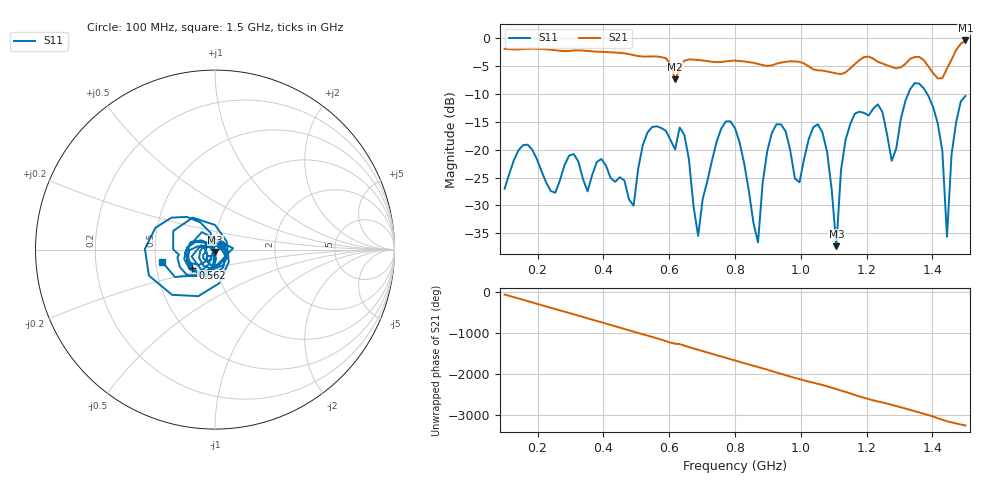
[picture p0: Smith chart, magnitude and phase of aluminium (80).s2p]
! NanoVNA-App
! Date: 2025-09-25 14:55:54
! Start: 100MHz Stop: 1,5GHz Points: 101
! S-Parameter data: F S11 S21 S12 S22
# Hz S RI R 50
!  Frequency  S11_Real  S11_Imag  S21_Real  S21_Imag  S12_Real  S12_Imag  S22_Real  S22_Imag
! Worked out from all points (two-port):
!   101 points, 100 MHz to 1.5 GHz, reference 50 ohm
!   highest |S21| = -0.42 dB at 1.5 GHz (marker M1); lowest = -7.4 dB at 618 MHz (marker M2)
!   |S21| within 3 dB of the highest: start of sweep to 577.4 MHz; 1.461 GHz to end of sweep (the widest 2 of 4)
!   lowest |S11| = -37.3 dB at 1.108 GHz (marker M3), VSWR 1.03, Z = 50.1 - j1.36 ohm
!   |S11| at or under -10 dB: start of sweep to 1.326 GHz; 1.384 GHz to end of sweep
!   S12 and S22 are empty: the file has one direction only
!   S11 on the Smith chart (normalised r, x): 100 MHz: 1.07, +0.06; 562 MHz: 0.76, -0.16; 1.5 GHz: 0.54, -0.08
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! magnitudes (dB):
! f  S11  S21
! 100 MHz  -27.0  -1.9
! 338 MHz  -25.2  -2.2
! 492 MHz  -30.0  -3.1
! 562 MHz  -15.8  -3.3
! 576 MHz  -16.1  -3.4
! 618 MHz  -19.9  -7.4
! 646 MHz  -17.3  -4.1
! 688 MHz  -35.5  -3.9
! 800 MHz  -16.1  -4.0
! 870 MHz  -36.6  -4.6
! 912 MHz  -17.0  -4.9
! 996 MHz  -25.8  -4.3
! 1.038 GHz  -16.0  -5.6
! 1.08 GHz  -20.5  -6.0
! 1.108 GHz  -37.3  -6.3
! 1.164 GHz  -13.5  -4.7
! 1.276 GHz  -22.0  -5.2
! 1.374 GHz  -9.0  -4.0
! 1.43 GHz  -20.3  -7.2
! 1.444 GHz  -35.6  -5.5
! 1.458 GHz  -20.8  -3.8
! 1.5 GHz  -10.4  -0.4
